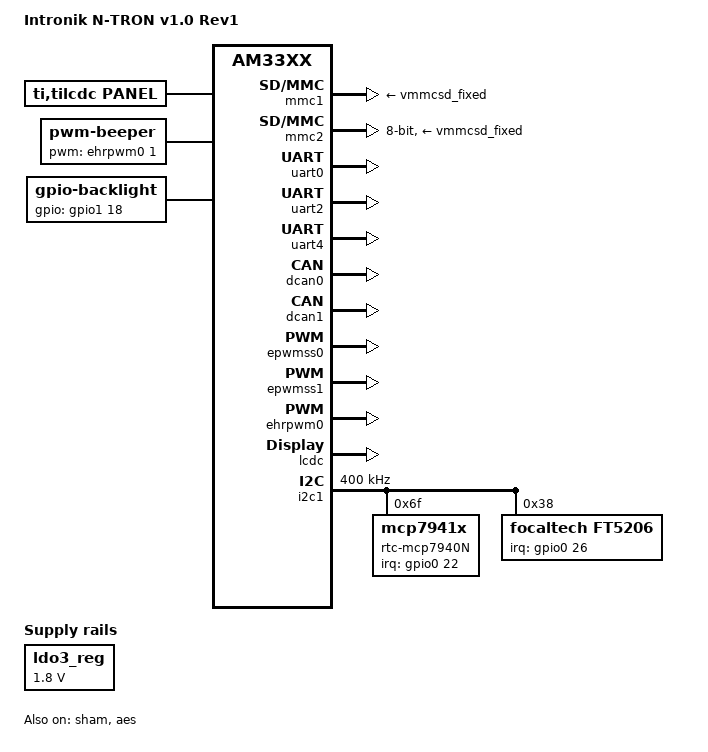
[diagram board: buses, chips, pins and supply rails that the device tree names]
/*
 * Copyright (C) 2015 Intronik GmbH
 *
 * Hardware specification for Intronik Natron control module.
 * V1.0 - 2015-08-24
 *        2016-05-18 Rev 1 DG RS485 Support
 */
/dts-v1/;

#include "am33xx.dtsi"
#include "am335x-bone-common-no-capemgr.dtsi"
#include "am335x-intronik-pinmux.dtsi"
#include <dt-bindings/interrupt-controller/irq.h>
#include <dt-bindings/input/input.h>

/ {
	model = "Intronik N-TRON v1.0 Rev1";
	compatible = "ti,am335x-bone-black", "ti,am335x-bone", "ti,am33xx";
};

&ldo3_reg {
	regulator-min-microvolt = <1800000>;
	regulator-max-microvolt = <1800000>;
	regulator-always-on;
};

&sham {
	status = "okay";
};

&aes {
	status = "okay";
};

&mmc1 {	// sd-card
	vmmc-supply = <&vmmcsd_fixed>;
};

&mmc2 {	// emmc
	status = "okay";
	vmmc-supply = <&vmmcsd_fixed>;
	pinctrl-names = "default";
	pinctrl-0 = <&emmc_pins>;
	bus-width = <8>;
};

&uart0 { // X401 TTL PFOSTEN (PIN4: RX, PIN5: TX, GND: PIN1)
	pinctrl-names = "default";
	pinctrl-0 = <&uart0_pins>;
	status = "okay";
};

&uart2 { // X600 RS495 D-SUB-9 (D- Pin 6&7, D+ Pin 8&9)
	status = "okay";
	pinctrl-names = "default", "sleep";
	pinctrl-0 = <&P9_22_uart_pin &P9_21_uart_pin &P9_23_gpio_pin>;
	pinctrl-1 = <&P9_22_default_pin &P9_21_default_pin &P9_23_gpio_pd_pin>;
	// enable RS485 support DRIVER ENABLE IS ON P9_23
	// see driver source \\fileserver\linux-home\linuxdev\kernel4.1\drivers\tty\serial\omap-serial.c
	rts-gpio = <&gpio1 17 GPIO_ACTIVE_HIGH>;
	rs485-rts-active-high;
	rs485-rx-during-tx;
	rs485-rts-delay = <1 1>;
	linux,rs485-enabled-at-boot-time;
};

&uart4 { // X600 RS232 D-SUB-9 (TX:2, RX:3, GND:5)
	status = "okay";
	pinctrl-names = "default", "sleep";
	pinctrl-0 = <&P9_11_uart_pin &P9_13_uart_pin>;
	pinctrl-1 = <&P9_11_default_pin &P9_13_default_pin>;
};

&dcan0 { // X2
	 status = "okay";
	 pinctrl-names = "default", "sleep";
	 pinctrl-0 = <&P9_19_can_pin &P9_20_can_pin>;
	 pinctrl-1 = <&P9_19_default_pin &P9_20_default_pin>;
};

&dcan1 { // X3
	 status = "okay";
	 pinctrl-names = "default", "sleep";
	 pinctrl-0 = <&P9_24_can_pin &P9_26_can_pin>;
	 pinctrl-1 = <&P9_24_default_pin &P9_26_default_pin>;
};

&epwmss0 {
	status = "okay";
};

&epwmss1 {
	status = "okay";
};

&ehrpwm0 { // pwm module used beeper (EHRPWM0B)
	status = "okay";
	pinctrl-names = "default", "sleep";
	pinctrl-0 = <&P9_29_pwm_pin>;
	pinctrl-1 = <&P9_29_gpio_pd_pin>;
};
/*
&ehrpwm1 { // pwm module used backlight (EHRPWM1A)
	status = "okay";
	pinctrl-names = "default", "sleep";
	pinctrl-0 = <&P9_14_pwm_pin>;
	pinctrl-1 = <&P9_14_gpio_pd_pin>;
};
*/
&pruss {
	status = "disabled";
};

&lcdc {
	status = "okay";
};

&rtc {  // we use an external i2c rtc, so this should be disabled
	status = "disable";
};

&i2c1 {
	status = "okay";
	pinctrl-names = "default", "sleep";
	pinctrl-0 = <&P9_17_i2c_pin &P9_18_i2c_pin>;
	pinctrl-1 = <&P9_17_default_pin &P9_18_default_pin>;
	clock-frequency = <400000>;
		
	rtc-mcp7940N@6F {
		reg = <0x6f>;
		compatible = "mcp7941x";
		pinctrl-names = "default";
		pinctrl-0 = <&P8_19_gpio_pu_pin>;
		interrupt-parent = <&gpio0>;
		interrupts = <22 IRQ_TYPE_EDGE_FALLING>;
	};

	ft5206@38 {
		status = "okay";
		reg = <0x38>;
		compatible = "focaltech,ft5206";
		pinctrl-names = "default";
		pinctrl-0 = <
			&P8_14_gpio_pu_pin 		// TOUCH_/IRQ
			&P8_16_gpio_pu_pin		// TOUCH_/RST
			&P8_17_gpio_pu_pin		// TOUCH_WK
		>;
		interrupt-parent = <&gpio0>;
		interrupts = <26 IRQ_TYPE_EDGE_FALLING>;
//		touch-gpio = <&gpio1 14 0>;
		flash-firmware = "no";
	};

};

&i2c2 { // required to enable CAN0
	status = "disable";
};

/ {
	cpus {
		cpu@0 {
			cpu0-supply = <&dcdc2_reg>;
			/*
			 * To consider voltage drop between PMIC and SoC,
			 * tolerance value is reduced to 2% from 4% and
			 * voltage value is increased as a precaution.
			 */
			operating-points = <
				/* kHz    uV */
				1000000	1325000
				800000	1300000
				600000	1112000
				300000	969000
			>;
		};
	};

	panel {
		status = "okay";
		compatible = "ti,tilcdc,panel";
		pinctrl-names = "default", "sleep";
		pinctrl-0 = <&bbcape_lcd_pins &P8_07_gpio_pu_pin>;
		pinctrl-1 = <&bbcape_lcd_pins &P8_07_gpio_pd_pin>;
		panel-info {
			ac-bias           = <255>;
			ac-bias-intrpt    = <0>;
			dma-burst-sz      = <16>;
			bpp               = <16>;
			fdd               = <0x80>;
			sync-edge         = <1>;
			sync-ctrl         = <1>;
			raster-order      = <0>;
			fifo-th           = <8>;
		};
		display-timings {
			native-mode = <&NHD50timing>;
			/* Settings for NEWHAVEN NHD5.0-800480TF-ATXI#-CTP */
			NHD50timing: 800x480 {
				clock-frequency = <30000000>;
				hactive = <800>;
				vactive = <480>;
				hfront-porch = <40>;
				hback-porch = <40>;
				hsync-len = <48>;
				vback-porch = <30>;
				vfront-porch = <13>;
				vsync-len = <3>;
				hsync-active = <0>;
				vsync-active = <0>;
				de-active = <1>;
				pixelclk-active = <0>;
			};
		};
	};

	beeper: beeper {
		status = "okay";
		compatible = "pwm-beeper";
		pwms = <&ehrpwm0 1 250000 0>; // EHRPWM0B 4kHz
	};
/*
	backlight: backlight {
		compatible = "pwm-backlight";
		pwms = <&ehrpwm1 0 20000 0>; // EHRPWM1A 20000ns=50KHz
		brightness-levels = <0 55 80 105 130 155 180 205 230 255>;
		default-brightness-level = <9>;
		enable-gpios = <&gpio2 2 0>;
	};
*/
	backlight: backlight {
		status = "okay";
		compatible = "gpio-backlight";
		pinctrl-names = "default", "sleep";
		pinctrl-0 = <&P9_14_gpio_pu_pin>;
		pinctrl-1 = <&P9_14_gpio_pd_pin>;
		gpios = <&gpio1 18 GPIO_ACTIVE_HIGH>;
		default-on;
	};

	NatronIo {
		compatible = "gpio-of-helper";
		status = "okay";
		pinctrl-names = "default", "sleep";
		pinctrl-0 = <&P8_09_gpio_pin 	&P8_11_gpio_pin		&P8_13_gpio_pin		&P8_15_gpio_pin &P8_08_gpio_pin &P8_10_gpio_pin &P8_12_gpio_pin &P9_12_gpio_pin
/*
                    &P8_14_gpio_pu_pin 		// TOUCH_/IRQ
                    &P8_16_gpio_pin		    // TOUCH_/RST
                    &P8_17_gpio_pin		    // TOUCH_WK
*/
                    >;
		pinctrl-1 = <&P8_09_gpio_pd_pin &P8_11_gpio_pd_pin	&P8_13_gpio_pu_pin	&P8_15_gpio_pin &P8_08_gpio_pin &P8_10_gpio_pin &P8_12_gpio_pin &P9_12_gpio_pu_pin>;

		P8_09_OutMainsEnable {
			gpio-name = "OutMainsEnable";
			gpio = <&gpio2 5 0>;
			output;
			init-high;
			active-low;
		};
		
		P8_13_Out01 {
			gpio-name = "Out01";
			gpio = <&gpio0 23 0>;
			output;
			init-low;
		};
		
		P8_11_Out02 {
			gpio-name = "Out02";
			gpio = <&gpio1 13 0>;
			output;
			init-low;
		};

		P9_12_OutResetChannels {
			gpio-name = "OutResetChannels";
			gpio = <&gpio1 28 0>;
			output;
			init-low;
		};
		
		P8_15_InpMainsOn {
			gpio-name = "InpMainsOn";
			gpio = <&gpio1 15 0>;
			input;
		};

		P8_08_Inp01 {
			gpio-name = "Inp01";
			input;
			gpio = <&gpio2 3 0>;
			debounce = <50000>;
			active-low;
		};

		P8_10_Inp02 {
			gpio-name = "Inp02";
			input;
			gpio = <&gpio2 4 0>;
			debounce = <50000>;
			active-low;
		};
		
		P8_12_Inp03 {
			gpio-name = "Inp03";
			input;
			gpio = <&gpio1 12 0>;
			debounce = <50000>;
			active-low;
		};
/*    
		P8_16_OutTouchRst {
			gpio-name = "OutTouchRst";
			output;
			gpio = <&gpio1 14 0>;
			init-low;
		};
		P8_17_OutTouchWake {
			gpio-name = "OutTouchWake";
			output;
			gpio = <&gpio0 27 0>;
			init-low;
		};        
*/      
	};
};
